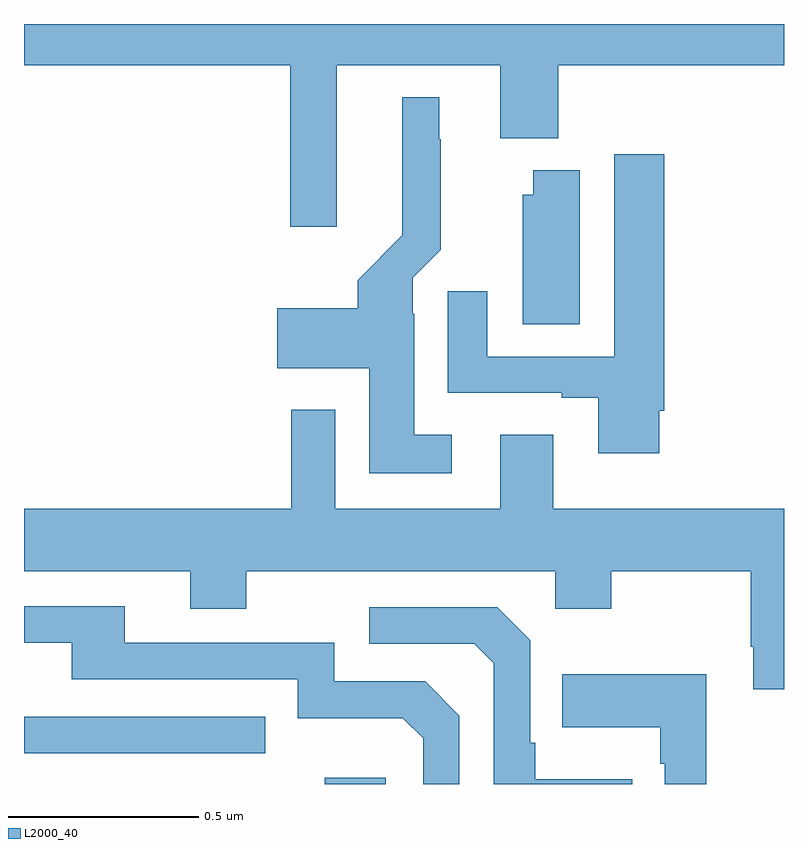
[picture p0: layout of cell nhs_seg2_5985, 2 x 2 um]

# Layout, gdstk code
import gdstk
lib = gdstk.Library(unit=1e-6, precision=1e-09)
def R(c, l, rs):  # rectangles x0, y0, x1, y1
    for r in rs: c.add(gdstk.rectangle(r[:2], r[2:], *l))
def P(c, l, *ps):  # polygons
    for p in ps: c.add(gdstk.Polygon(p, *l))
L2000_40 = (2000, 40)

nhs_seg2_5985 = lib.new_cell('nhs_seg2_5985')
R(nhs_seg2_5985, L2000_40, [(186.791,589.8,186.952,589.816), (186,589.881,186.635,589.977)])
P(nhs_seg2_5985, L2000_40, [(186.823,591.692),(187.253,591.692),(187.253,591.5),(187.406,591.5),(187.406,591.692),(188,591.692),(188,591.8),(186,591.8),(186,591.692),(186.701,591.692),(186.701,591.267),(186.823,591.267)],
  [(187.126,590.719),(187.027,590.719),(187.027,591.038),(187.023,591.038),(187.023,591.132),(187.097,591.206),(187.097,591.497),(187.093,591.497),(187.093,591.607),(186.995,591.607),(186.995,591.346),(186.996,591.346),(186.996,591.244),(186.878,591.126),(186.878,591.052),(186.666,591.052),(186.666,590.894),(186.908,590.894),(186.908,590.618),(187.126,590.618)],
  [(187.672,590.782),(187.685,590.782),(187.685,591.457),(187.553,591.457),(187.553,590.925),(187.219,590.925),(187.219,591.097),(187.115,591.097),(187.115,590.829),(187.415,590.829),(187.415,590.817),(187.511,590.817),(187.511,590.67),(187.672,590.67)],
  [(187.462,591.415),(187.34,591.415),(187.34,591.351),(187.313,591.351),(187.313,591.01),(187.462,591.01)],
  [(188,590.524),(187.393,590.524),(187.393,590.719),(187.253,590.719),(187.253,590.524),(186.819,590.524),(186.819,590.785),(186.703,590.785),(186.703,590.524),(186,590.524),(186,590.36),(186.437,590.36),(186.437,590.261),(186.585,590.261),(186.585,590.36),(187.398,590.36),(187.398,590.261),(187.545,590.261),(187.545,590.36),(187.912,590.36),(187.912,590.161),(187.919,590.161),(187.919,590.049),(188,590.049)],
  [(187.146,589.98),(187.056,590.07),(186.816,590.07),(186.816,590.172),(186.265,590.172),(186.265,590.268),(186,590.268),(186,590.172),(186.125,590.172),(186.125,590.076),(186.72,590.076),(186.72,589.973),(186.997,589.973),(187.05,589.92),(187.05,589.8),(187.146,589.8)],
  [(187.601,589.813),(187.345,589.813),(187.345,589.909),(187.332,589.909),(187.332,590.178),(187.245,590.265),(186.909,590.265),(186.909,590.169),(187.185,590.169),(187.236,590.118),(187.236,589.8),(187.601,589.8)],
  [(187.795,590.089),(187.417,590.089),(187.417,589.949),(187.674,589.949),(187.674,589.853),(187.686,589.853),(187.686,589.8),(187.795,589.8)])

lib.write_gds('nhs_seg2_5985.gds')
